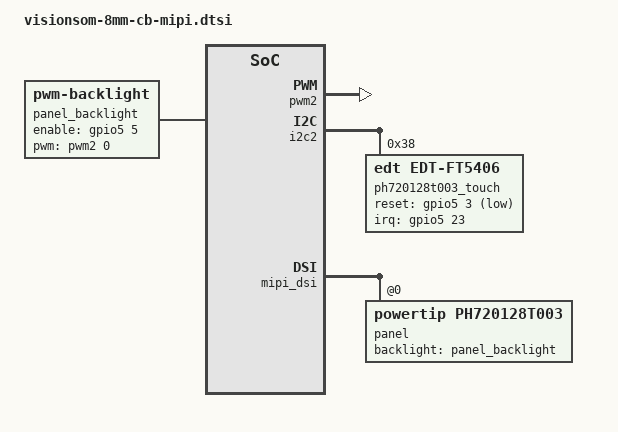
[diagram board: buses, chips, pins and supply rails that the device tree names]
// SPDX-License-Identifier: GPL-2.0-or-later
/*
 * Copyright 2020 SomLabs
 *
 */

/ {

    panel_backlight: panel-backlight {
        compatible = "pwm-backlight";
        pinctrl-names = "default";
        pinctrl-0 = <&pinctrl_panel_backlight_en>;
        pwms = <&pwm2 0 100000 0>;

        brightness-levels = < 0  1  2  3  4  5  6  7  8  9
                             10 11 12 13 14 15 16 17 18 19
                             20 21 22 23 24 25 26 27 28 29
                             30 31 32 33 34 35 36 37 38 39
                             40 41 42 43 44 45 46 47 48 49
                             50 51 52 53 54 55 56 57 58 59
                             60 61 62 63 64 65 66 67 68 69
                             70 71 72 73 74 75 76 77 78 79
                             80 81 82 83 84 85 86 87 88 89
                             90 91 92 93 94 95 96 97 98 99
                             100>;
        default-brightness-level = <80>;

        enable-gpios = <&gpio5 5 0>;
    };

};

&iomuxc {

    pinctrl_panel_backlight_en: panel_backlight_en {
        fsl,pins = <
            MX8MM_IOMUXC_SPDIF_EXT_CLK_GPIO5_IO5            0x19
        >;
    };

    pinctrl_panel_backlight_pwm: panel_backlight_pwm {
        fsl,pins = <
            MX8MM_IOMUXC_SPDIF_RX_PWM2_OUT                  0x19
        >;
    };

    pinctrl_touch: touchgpio {
        fsl,pins = <
            MX8MM_IOMUXC_UART1_TXD_GPIO5_IO23               0x41    /* interrupt */
            MX8MM_IOMUXC_SPDIF_TX_GPIO5_IO3                 0x19    /* reset */
        >;
    };

};

&pwm2 {
    pinctrl-names = "default";
    pinctrl-0 = <&pinctrl_panel_backlight_pwm>;
    status = "okay";
};

&i2c2 {

    ph720128t003_touch: edt-ft5x06@38 {
        compatible = "edt,edt-ft5406", "edt,edt-ft5x06";
        reg = <0x38>;
        pinctrl-names = "default";
        pinctrl-0 = <&pinctrl_touch>;
        interrupt-parent = <&gpio5>;
        interrupts = <23 IRQ_TYPE_EDGE_FALLING>;
        reset-gpios = <&gpio5 3 GPIO_ACTIVE_LOW>;
        touchscreen-size-x = <720>;
        touchscreen-size-y = <1280>;
    };

};

&mipi_dsi {
    status = "okay";

    panel@0 {
        pinctrl-names = "default";
        compatible = "powertip,ph720128t003";
        reg = <0>;
        backlight = <&panel_backlight>;
        status = "okay";
    };
};
